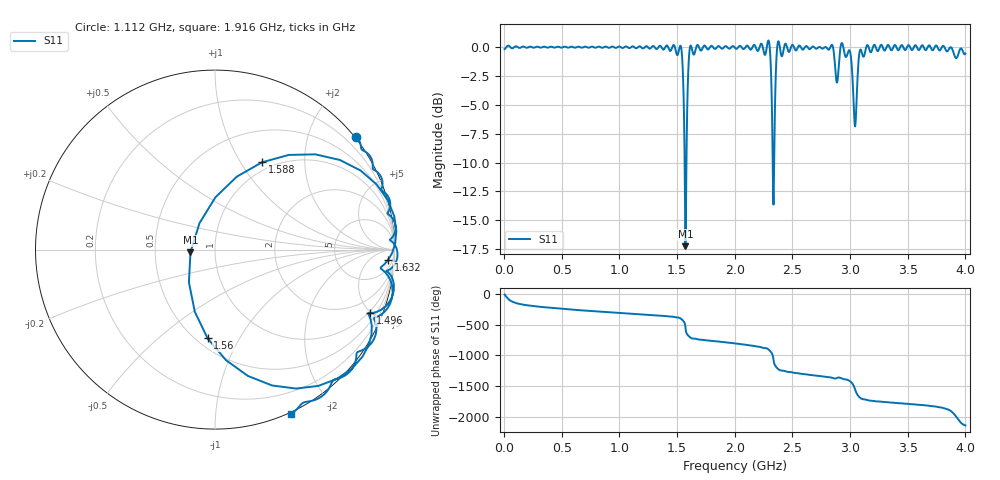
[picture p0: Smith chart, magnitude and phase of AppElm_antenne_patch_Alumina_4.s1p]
! TOUCHSTONE file generated by CST MICROWAVE STUDIO
! Date and time: Thu Jun  9 09:13:14 2022
! Project name: AppElm_antenne_patch_Alumina.cst
! Parameters = {L=30.5; W=41.8; e=0.035; h=1.6; lambda=0.190476; ls=90; w0=1.008; w1=0.373; ws=90; y0=14; y1=10}
! Header version: 2018
! Port assignment regex: !\s*Touchstone port\s*([0-9]+)\s*=\s*(CST MWS port|CST DS port)\s*([0-9]+|Zmin|Zmax)\s*\(\"(.*)\"\)(\s*mode\s*([0-9]+))?.*
! Touchstone port assignment:
! Touchstone port 1 = CST MWS port 1 ("")
# GHz S MA R 50
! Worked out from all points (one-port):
!   1000 points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, 4 MHz to 4 GHz, reference 50 ohm
!   lowest |S11| = -17.2 dB at 1.572 GHz (marker M1), VSWR 1.32, Z = 38 - j1.08 ohm
!   |S11| at or under -10 dB: 1.565 GHz to 1.581 GHz (15.59 MHz wide, 0.991 % of centre); 2.329 GHz to 2.341 GHz (12.12 MHz wide, 0.519 % of centre)
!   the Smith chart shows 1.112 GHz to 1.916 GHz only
!   S11 on the Smith chart (normalised r, x): 1.112 GHz: -0.03, +2.86; 1.496 GHz: 0.90, -4.92; 1.56 GHz: 0.57, -0.74; 1.588 GHz: 0.89, +1.24; 1.632 GHz: 15, -25; 1.916 GHz: -0.02, -1.57
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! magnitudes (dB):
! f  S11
! 4 MHz  -0.2
! 504 MHz  0.0
! 1.004 GHz  0.0
! 1.112 GHz  0.1
! 1.496 GHz  -0.6
! 1.504 GHz  -0.7
! 1.536 GHz  -0.1
! 1.56 GHz  -6.1
! 1.572 GHz  -17.2
! 1.588 GHz  -5.2
! 1.608 GHz  -0.3
! 1.632 GHz  -0.3
! 1.916 GHz  0.1
! 2.004 GHz  -0.1
! 2.288 GHz  0.5
! 2.304 GHz  -0.1
! 2.324 GHz  -6.2
! 2.336 GHz  -13.6
! 2.376 GHz  0.5
! 2.504 GHz  0.2
! 2.836 GHz  0.1
! 2.884 GHz  -3.1
! 2.928 GHz  0.4
! 3.004 GHz  -0.6
! 3.044 GHz  -6.9
! 3.096 GHz  -0.3
! 3.504 GHz  0.2
! 4 GHz  -0.6
